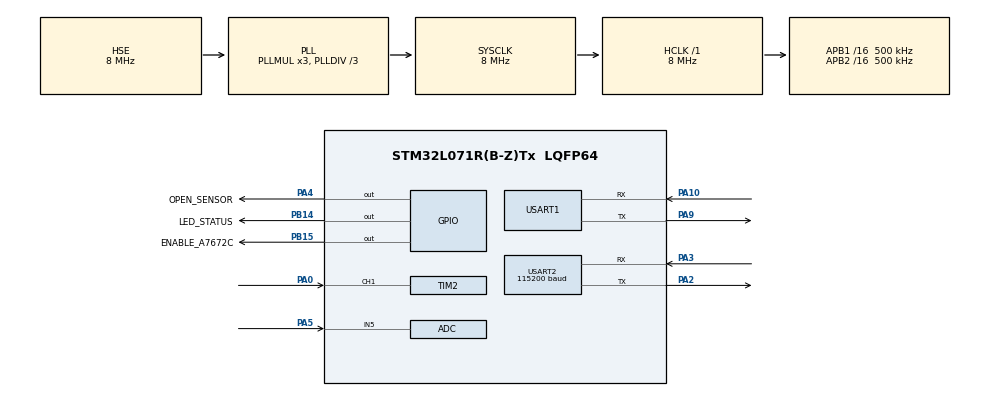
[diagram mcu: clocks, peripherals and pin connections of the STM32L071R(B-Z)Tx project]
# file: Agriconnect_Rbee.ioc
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ADC.LowPowerFrequencyMode=ENABLE
Mcu.Family=STM32L0
Mcu.Name=STM32L071R(B-Z)Tx
Mcu.Package=LQFP64
NVIC.TIM2_IRQn=true\:2\:0\:true\:false\:true\:true\:true\:true
NVIC.TIM6_IRQn=true\:3\:0\:true\:false\:true\:true\:true\:true
NVIC.USART1_IRQn=true\:0\:0\:true\:false\:true\:true\:true\:true
NVIC.USART2_IRQn=true\:2\:0\:true\:false\:true\:true\:true\:true
PA0.Signal=S_TIM2_CH1
PA10.Mode=Asynchronous
PA10.Signal=USART1_RX
PA13.Mode=Serial_Wire
PA13.Signal=SYS_SWDIO
PA14.Mode=Serial_Wire
PA14.Signal=SYS_SWCLK
PA2.Mode=Asynchronous
PA2.Signal=USART2_TX
PA3.Mode=Asynchronous
PA3.Signal=USART2_RX
PA4.GPIO_Label=OPEN_SENSOR
PA4.Signal=GPIO_Output
PA5.Mode=IN5
PA5.Signal=ADC_IN5
PA9.Mode=Asynchronous
PA9.Signal=USART1_TX
PB14.GPIO_Label=LED_STATUS
PB14.Signal=GPIO_Output
PB15.GPIO_Label=ENABLE_A7672C
PB15.GPIO_PuPd=GPIO_NOPULL
PB15.PinState=GPIO_PIN_SET
PB15.Signal=GPIO_Output
PH0-OSC_IN.Mode=HSE-External-Oscillator
PH0-OSC_IN.Signal=RCC_OSC_IN
PH1-OSC_OUT.Mode=HSE-External-Oscillator
PH1-OSC_OUT.Signal=RCC_OSC_OUT
ProjectManager.HeapSize=0x200
ProjectManager.StackSize=0x400
ProjectManager.TargetToolchain=STM32CubeIDE
RCC.ADCFreq_Value=16000000
RCC.AHBFreq_Value=8000000
RCC.APB1CLKDivider=RCC_HCLK_DIV16
RCC.APB1Freq_Value=500000
RCC.APB1TimFreq_Value=1000000
RCC.APB2CLKDivider=RCC_HCLK_DIV16
RCC.APB2Freq_Value=500000
RCC.APB2TimFreq_Value=1000000
RCC.HCLKFreq_Value=8000000
RCC.HSE_VALUE=8000000
RCC.HSI16_VALUE=16000000
RCC.HSI_VALUE=16000000
RCC.LSE_VALUE=32768
RCC.MSI_VALUE=2097000
RCC.PLLDIV=RCC_PLLDIV_3
RCC.PLLSourceVirtual=RCC_PLLSOURCE_HSE
RCC.SYSCLKFreq_VALUE=8000000
RCC.SYSCLKSource=RCC_SYSCLKSOURCE_PLLCLK
RCC.Usart1ClockSelection=RCC_USART1CLKSOURCE_SYSCLK
RCC.Usart2ClockSelection=RCC_USART2CLKSOURCE_HSI
RCC.VCOOutputFreq_Value=24000000
SH.S_TIM2_CH1.0=TIM2_CH1,PWM_Input_1
TIM6.Period=39999
TIM6.Prescaler=59999
USART1.VirtualMode-Asynchronous=VM_ASYNC
USART2.BaudRate=115200
USART2.VirtualMode-Asynchronous=VM_ASYNC
VP_TIM6_VS_ClockSourceINT.Mode=Enable_Timer
board=custom

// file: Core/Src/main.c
/* USER CODE BEGIN Header */
/**
 ******************************************************************************
 * @file           : main.c
 * @brief          : Main program body
 ******************************************************************************
 * @attention
 *
 * Copyright (c) 2023 STMicroelectronics.
 * All rights reserved.
 *
 * This software is licensed under terms that can be found in the LICENSE file
 * in the root directory of this software component.
 * If no LICENSE file comes with this software, it is provided AS-IS.
 *
 ******************************************************************************
 */
/* USER CODE END Header */
#include "main.h"

/* USER CODE BEGIN Includes */
#include "stm32l0xx_hal.h"
#include "config.h"
#include "string.h"
#include "stdbool.h"
#include "stdio.h"
#include "stdlib.h"
#include <math.h>

/* USER CODE END Includes */

ADC_HandleTypeDef hadc;

TIM_HandleTypeDef htim2;
TIM_HandleTypeDef htim6;

UART_HandleTypeDef huart1;
UART_HandleTypeDef huart2;

/* USER CODE BEGIN PV */
char AT_RESET[] = "AT+CRESET\r\n";
char AT_CHECK_A76XX[] = "AT\r\n";
char ATE0[] = "ATE0\r\n";
char AT_CHECK_ESIM[] = "AT+CGREG?\r\n";
char AT_SIGNAL_SIM[] = "AT+CSQ\r\n";
char AT_START_MQTT[] = "AT+CMQTTSTART\r\n";
char AT_ACQUIRE_CLIENT[] = "AT+CMQTTACCQ=0,\"%s\",0\r\n";
//char AT_CONNECT_MQTT[]="AT+CMQTTCONNECT=0,\"%s:%d\",60,1,\"%s\",\"%s\"\r\n";
char AT_CONNECT_MQTT[] = "AT+CMQTTCONNECT=0,\"%s:%d\",60,1,\"%s\",\"%s\"\r\n";

char AT_SET_PUBLISH_TOPIC[] = "AT+CMQTTTOPIC=0,%d\r\n";
char AT_SET_PUBLISH_PAYLOAD[] = "AT+CMQTTPAYLOAD=0,%d\r\n";
char AT_PUBLISH[] = "AT+CMQTTPUB=0,1,60\r\n";
char AT_SUBCRIBE_TOPIC[] = "%s%d\r\n";
char AT_SUBCRIBE[] = "AT+CMQTTSUB=0\r\n";
char AT_COMMAND[200];
char AT_DISCONNECT[] = "AT+CMQTTDISC=0,120";
char BUFFER_TOPPIC_MQTT[200];
char BUFFER_DATA_PAYLOAD_MQTT[100];
//char TOPPIC_PAYLOAD_MQTT[]="{\"WaterLevel\":%.1f}\r\n";
char TOPPIC_PAYLOAD_MQTT[] =
		"{\"WaterLevel\":%.1f,\"_battery_level\":%.1f,\"_gsm_signal_strength\":%d}\r\n";
//char TOPPIC_PAYLOAD_MQTT[]="{\"WaterLevel\":%.1f,\"Battery\":%.1f,\"RSSI\":%.1f}\r\n";
char water[50] = "-123";

int previousTick = 0;
int timeOutConnectA76XX = 40000;
int timeOutConnectMQTT = 40000;
int isATOK = 0;
int isPBDONE = 0;
int payLoadPin, payLoadStatus;

int rxDataCouter = 0;
int numberLoads = 10;
char simcomRxBuffer[100];
int payloadIndex;

uint8_t cnt_1 = 0;
uint8_t rxData;
uint16_t rxIndex;
uint8_t loadflag = 0;
char rxBuffer[50];

uint8_t isConnectSimcomA76xx = 0;
uint8_t isConnectMQTT = 0;
uint8_t sendPayloadStatusToServer;
uint8_t isSleepMode = 0;

//User code sensor distance
uint32_t ICValue = 0;
uint32_t Frequency = 0;
float Duty = 0;
float Distance_water = 0;
uint8_t cnt_start_sleep = 0;
// Flash
float SaveDataWater = 0;
float isDistance = 0;
int intDataWater = 0;
int floatDataWater = 0;
int Negative = 0;
float absChange = 0;
int big_change;

// Query signal quality
float SignalStrength = 0;
// BatteryLevel
uint32_t adcValue = 0;
float BatteryLevel = 0;
float PercentageBattery = 0;
uint32_t arrayBattery[50];
uint32_t temp;
uint8_t times = 10;
//int time_Period=0;
int Filter_Baterry_Values();
int MediumBattery();

uint32_t ADC_VAL;
float Vin = 0;
uint8_t test1 = 0;
uint8_t A7677S_DONE = 0;
uint8_t A7670C_DONE = 0;
// VL53L1
char rx_VL53L1[8];
int distance;
unsigned char data_vl53l1[3] = { 0xA5, 0x15, 0xBA };
unsigned char save_mode[3] = { 0xA5, 0x25, 0xCA };
uint32_t medium_distance[30];
uint32_t temp_distance;
float water_level;
int test123=0;

#if wt53r_ttl
//unsigned char data_w53r_ttl[8] = { 0x50, 0x06, 0x00, 0x03, 0x00, 0x03, 0x34, 0x4A};
unsigned char save_mode_1hz[8] = { 0x50, 0x06, 0x00, 0x03, 0x00, 0x03, 0x34, 0x4A};
unsigned char save_mode_0_2hz[8] = { 0x50, 0x06, 0x00, 0x03, 0x00, 0x06, 0xF4, 0x49};
char rx_wt53r_ttl[80];
char data_w53r_ttl[5];
#endif
int rssi = -99;
void RunningSendData();

/* USER CODE END PV */

void SystemClock_Config(void);
static void MX_GPIO_Init(void);
static void MX_TIM6_Init(void);
static void MX_USART1_UART_Init(void);
static void MX_ADC_Init(void);
static void MX_TIM2_Init(void);
static void MX_USART2_UART_Init(void);
/* USER CODE BEGIN PFP */
void turnOnA76XX(void);	//reset module sim A76XX
void sendingToSimcomA76xx(char *cmd);
void Filter_Value(void);
int connectMQTT();
int Sleep_Stm32_A7672S();

/* USER CODE END PFP */

/* USER CODE BEGIN 0 */
void Flash_Erase(uint32_t address) {
	HAL_FLASH_Unlock();
	FLASH_EraseInitTypeDef EraseInitStruct;
	EraseInitStruct.TypeErase = 1;
	EraseInitStruct.NbPages = 1;
	EraseInitStruct.PageAddress = address;
	EraseInitStruct.TypeErase = FLASH_TYPEERASE_PAGES;
	uint32_t pagerr;
	HAL_FLASHEx_Erase(&EraseInitStruct, &pagerr);
	HAL_FLASH_Lock();
}
void Flash_Write_Init(uint32_t address, int value) {
	HAL_FLASH_Unlock();
	HAL_FLASH_Program(FLASH_TYPEPROGRAMDATA_WORD, address, value);
	HAL_FLASH_Lock();
}
int Flash_Read_Init(uint32_t address) {
	return *(__IO uint16_t*) (address);
}

void HAL_TIM_PeriodElapsedCallback(TIM_HandleTypeDef *htim) {
	if (htim->Instance == htim6.Instance) {
		// cnt_1++;
	}
}

void HAL_TIM_IC_CaptureCallback(TIM_HandleTypeDef *htim) {
	if (htim->Channel == HAL_TIM_ACTIVE_CHANNEL_1) // Chon ngat tai channel 1 | cubeMX (PWM input on CH1)
			{
		// Read the IC value
		ICValue = HAL_TIM_ReadCapturedValue(&htim2, TIM_CHANNEL_1); // Do chu ky PWM tu TIM1

		if (ICValue != 0) {
			// calculate the Duty Cycle
			Duty = (float) (HAL_TIM_ReadCapturedValue(&htim2, TIM_CHANNEL_2)
					* 100) / ICValue; // Do do rong xung muc cao
#if tube_length==110
			if (tube_length == 110) {
				Distance_water = 70 - ((Duty * 50) / 10);
			}
#endif
#if tube_length==90
			if (tube_length == 90) {
				Distance_water = 50 - ((Duty * 50) / 10);
			}
#endif
#if tube_length==70
			if (tube_length == 70) {
				Distance_water = 30 - ((Duty * 50) / 10);
			}
#endif
//			else
//			Distance_water=((Duty*50)/10); //don vi CM
			//Frequency = (TIMCLOCK / PRESCALER) / ICValue;
		}
	}
}

int connectSimcomA76xx() {
	//HAL_TIM_Base_Stop_IT(&htim6);
	previousTick = HAL_GetTick();

	while (isConnectSimcomA76xx == 0
			&& (previousTick + timeOutConnectA76XX) > HAL_GetTick()) {
		if (strstr((char*) rxBuffer, "PB DONE")) {
			isPBDONE = 1;
		}
//		if(strstr((char *)rxBuffer,"PDN ACT 1")){
//			A7677S_DONE = 1;
//			isPBDONE=1;
//			HAL_Delay(7000);
//		}
		if (isPBDONE == 1) {
			sendingToSimcomA76xx(ATE0);
			HAL_Delay(200);
			sendingToSimcomA76xx(AT_SIGNAL_SIM);
			HAL_Delay(200);
			SignalStrength = (rxBuffer[8] - 48) * 10 + (rxBuffer[9] - 48);
			if(SignalStrength>=31)
			{
				rssi=-51;
			}else rssi = (SignalStrength * 2 - 113);
			isConnectSimcomA76xx = 1;
			HAL_Delay(1000);
			return isConnectSimcomA76xx;
		}
	}
	if (isConnectSimcomA76xx == 0) {
		NVIC_SystemReset();
	}

	return isConnectSimcomA76xx;
}

//void HAL_UART_RxCpltCallback(UART_HandleTypeDef *huart)
//{
//	if(huart -> Instance == USART1)
//	{
//		if((rxData!='\r')&&(rxData!='\n')){
//			simcomRxBuffer[rxIndex++]=rxData;
//			rxDataCouter++;
//		}
//		else{
//			rxDataCouter=0;
//			rxIndex=0;
//
//		}
//	}
//	HAL_UART_Receive_IT(&huart1, &rxData,1);
//}

void HAL_UARTEx_RxEventCallback(UART_HandleTypeDef *huart, uint16_t Size) {
	if (huart->Instance == USART1) {
		if (strstr((char*) rxBuffer, "ERROR")) {
			NVIC_SystemReset();
		}
		if (strstr((char*) rxBuffer, "unknown")) {
			NVIC_SystemReset();
		}
		HAL_UARTEx_ReceiveToIdle_IT(huart, (uint8_t*) rxBuffer, 50);
	}
	if (huart->Instance == USART2) {
#if vl53l1
		Distance_water = (rx_VL53L1[4] << 8 | rx_VL53L1[5]);
		HAL_UARTEx_ReceiveToIdle_IT(&huart2, (uint8_t*) rx_VL53L1, 8);
#endif
#if wt53r_ttl
		//Distance_water= (char)rx_wt53r_ttl[36];

		sprintf(data_w53r_ttl,"%c%c%c%c",rx_wt53r_ttl[34],rx_wt53r_ttl[35],rx_wt53r_ttl[36],rx_wt53r_ttl[37]);
		Distance_water=atoi(data_w53r_ttl);
		HAL_UARTEx_ReceiveToIdle_IT(&huart2, (uint8_t*) rx_wt53r_ttl, 80);
#endif
	}

}

void sendingToSimcomA76xx(char *cmd) {
	HAL_UART_Transmit(&huart1, (uint8_t*) cmd, strlen(cmd), 1000);
}
void read_vl53l1(uint8_t *data) {
	HAL_UART_Transmit(&huart2, data_vl53l1, 9, 1000);
}
void writte_mode_return_rate(uint8_t *data) {
	HAL_UART_Transmit(&huart2, save_mode_0_2hz, 9, 1000);
}

/* USER CODE END 0 */

int main(void)
{

  /* MCU Configuration--------------------------------------------------------*/

  /* Reset of all peripherals, Initializes the Flash interface and the Systick. */
  HAL_Init();

  /* Configure the system clock */
  SystemClock_Config();

  /* Initialize all configured peripherals */
  MX_GPIO_Init();
  MX_TIM6_Init();
  MX_USART1_UART_Init();
  MX_ADC_Init();
  MX_TIM2_Init();
  MX_USART2_UART_Init();
  /* USER CODE BEGIN 2 */
	// HAL_TIM_Base_Start_IT(&htim6);
	HAL_GPIO_WritePin(LED_STATUS_GPIO_Port, LED_STATUS_Pin, GPIO_PIN_SET);

	//sendingToSimcomA76xx(AT_RESET);

//  HAL_UART_Receive_IT(&huart1, &rxData,1);
	HAL_UARTEx_ReceiveToIdle_IT(&huart1, (uint8_t*) rxBuffer, 50);
#if vl53l1
	HAL_UARTEx_ReceiveToIdle_IT(&huart2, (uint8_t*) rx_VL53L1, 8);
#endif
#if wt53r_ttl
	HAL_UARTEx_ReceiveToIdle_IT(&huart2, (uint8_t*) rx_wt53r_ttl, 80);
#endif

	intDataWater = Flash_Read_Init(DATA_INT_WATER);
	floatDataWater = Flash_Read_Init(DATA_FLOAT_WATER);
	Negative = Flash_Read_Init(DATA_NEGATIVE_WATER);
	if (Negative == 2) {
		SaveDataWater = ((float) (intDataWater + (float) floatDataWater * 0.1))
				* -1;
	} else {
		SaveDataWater = (float) (intDataWater + (float) floatDataWater * 0.1);
	}
	turnOnA76XX();
	writte_mode_return_rate(save_mode_0_2hz);

  /* USER CODE END 2 */

  /* Infinite loop */
	while (1) {

    /* USER CODE BEGIN 3 */
		//HAL_GPIO_WritePin(OPEN_SENSOR_GPIO_Port, OPEN_SENSOR_Pin, GPIO_PIN_SET);
		if (!isConnectSimcomA76xx) {
			isConnectSimcomA76xx = connectSimcomA76xx();
		}
		if (!isConnectMQTT) {
			isConnectMQTT = connectMQTT();
		}
		if (!isSleepMode) {
			isSleepMode = Sleep_Stm32_A7672S();
		}
	}
  /* USER CODE END 3 */
}

void SystemClock_Config(void)
{
  RCC_OscInitTypeDef RCC_OscInitStruct = {0};
  RCC_ClkInitTypeDef RCC_ClkInitStruct = {0};
  RCC_PeriphCLKInitTypeDef PeriphClkInit = {0};

  /** Configure the main internal regulator output voltage
  */
  __HAL_PWR_VOLTAGESCALING_CONFIG(PWR_REGULATOR_VOLTAGE_SCALE1);

  /** Initializes the RCC Oscillators according to the specified parameters
  * in the RCC_OscInitTypeDef structure.
  */
  RCC_OscInitStruct.OscillatorType = RCC_OSCILLATORTYPE_HSI|RCC_OSCILLATORTYPE_HSE;
  RCC_OscInitStruct.HSEState = RCC_HSE_ON;
  RCC_OscInitStruct.HSIState = RCC_HSI_ON;
  RCC_OscInitStruct.HSICalibrationValue = RCC_HSICALIBRATION_DEFAULT;
  RCC_OscInitStruct.PLL.PLLState = RCC_PLL_ON;
  RCC_OscInitStruct.PLL.PLLSource = RCC_PLLSOURCE_HSE;
  RCC_OscInitStruct.PLL.PLLMUL = RCC_PLLMUL_3;
  RCC_OscInitStruct.PLL.PLLDIV = RCC_PLLDIV_3;
  if (HAL_RCC_OscConfig(&RCC_OscInitStruct) != HAL_OK)
  {
    Error_Handler();
  }

  /** Initializes the CPU, AHB and APB buses clocks
  */
  RCC_ClkInitStruct.ClockType = RCC_CLOCKTYPE_HCLK|RCC_CLOCKTYPE_SYSCLK
                              |RCC_CLOCKTYPE_PCLK1|RCC_CLOCKTYPE_PCLK2;
  RCC_ClkInitStruct.SYSCLKSource = RCC_SYSCLKSOURCE_PLLCLK;
  RCC_ClkInitStruct.AHBCLKDivider = RCC_SYSCLK_DIV1;
  RCC_ClkInitStruct.APB1CLKDivider = RCC_HCLK_DIV16;
  RCC_ClkInitStruct.APB2CLKDivider = RCC_HCLK_DIV16;

  if (HAL_RCC_ClockConfig(&RCC_ClkInitStruct, FLASH_LATENCY_0) != HAL_OK)
  {
    Error_Handler();
  }
  PeriphClkInit.PeriphClockSelection = RCC_PERIPHCLK_USART1|RCC_PERIPHCLK_USART2;
  PeriphClkInit.Usart1ClockSelection = RCC_USART1CLKSOURCE_SYSCLK;
  PeriphClkInit.Usart2ClockSelection = RCC_USART2CLKSOURCE_HSI;
  if (HAL_RCCEx_PeriphCLKConfig(&PeriphClkInit) != HAL_OK)
  {
    Error_Handler();
  }
}

static void MX_ADC_Init(void)
{

  ADC_ChannelConfTypeDef sConfig = {0};

  /** Configure the global features of the ADC (Clock, Resolution, Data Alignment and number of conversion)
  */
  hadc.Instance = ADC1;
  hadc.Init.OversamplingMode = DISABLE;
  hadc.Init.ClockPrescaler = ADC_CLOCK_SYNC_PCLK_DIV1;
  hadc.Init.Resolution = ADC_RESOLUTION_12B;
  hadc.Init.SamplingTime = ADC_SAMPLETIME_1CYCLE_5;
  hadc.Init.ScanConvMode = ADC_SCAN_DIRECTION_FORWARD;
  hadc.Init.DataAlign = ADC_DATAALIGN_RIGHT;
  hadc.Init.ContinuousConvMode = DISABLE;
  hadc.Init.DiscontinuousConvMode = DISABLE;
  hadc.Init.ExternalTrigConvEdge = ADC_EXTERNALTRIGCONVEDGE_NONE;
  hadc.Init.ExternalTrigConv = ADC_SOFTWARE_START;
  hadc.Init.DMAContinuousRequests = DISABLE;
  hadc.Init.EOCSelection = ADC_EOC_SINGLE_CONV;
  hadc.Init.Overrun = ADC_OVR_DATA_PRESERVED;
  hadc.Init.LowPowerAutoWait = DISABLE;
  hadc.Init.LowPowerFrequencyMode = ENABLE;
  hadc.Init.LowPowerAutoPowerOff = DISABLE;
  if (HAL_ADC_Init(&hadc) != HAL_OK)
  {
    Error_Handler();
  }

  /** Configure for the selected ADC regular channel to be converted.
  */
  sConfig.Channel = ADC_CHANNEL_5;
  sConfig.Rank = ADC_RANK_CHANNEL_NUMBER;
  if (HAL_ADC_ConfigChannel(&hadc, &sConfig) != HAL_OK)
  {
    Error_Handler();
  }

}

static void MX_TIM2_Init(void)
{

  TIM_SlaveConfigTypeDef sSlaveConfig = {0};
  TIM_IC_InitTypeDef sConfigIC = {0};
  TIM_MasterConfigTypeDef sMasterConfig = {0};

  htim2.Instance = TIM2;
  htim2.Init.Prescaler = 0;
  htim2.Init.CounterMode = TIM_COUNTERMODE_UP;
  htim2.Init.Period = 65535;
  htim2.Init.ClockDivision = TIM_CLOCKDIVISION_DIV1;
  htim2.Init.AutoReloadPreload = TIM_AUTORELOAD_PRELOAD_DISABLE;
  if (HAL_TIM_IC_Init(&htim2) != HAL_OK)
  {
    Error_Handler();
  }
  sSlaveConfig.SlaveMode = TIM_SLAVEMODE_RESET;
  sSlaveConfig.InputTrigger = TIM_TS_TI1FP1;
  sSlaveConfig.TriggerPolarity = TIM_INPUTCHANNELPOLARITY_RISING;
  sSlaveConfig.TriggerPrescaler = TIM_ICPSC_DIV1;
  sSlaveConfig.TriggerFilter = 0;
  if (HAL_TIM_SlaveConfigSynchro(&htim2, &sSlaveConfig) != HAL_OK)
  {
    Error_Handler();
  }
  sConfigIC.ICPolarity = TIM_INPUTCHANNELPOLARITY_RISING;
  sConfigIC.ICSelection = TIM_ICSELECTION_DIRECTTI;
  sConfigIC.ICPrescaler = TIM_ICPSC_DIV1;
  sConfigIC.ICFilter = 0;
  if (HAL_TIM_IC_ConfigChannel(&htim2, &sConfigIC, TIM_CHANNEL_1) != HAL_OK)
  {
    Error_Handler();
  }
  sConfigIC.ICPolarity = TIM_INPUTCHANNELPOLARITY_FALLING;
  sConfigIC.ICSelection = TIM_ICSELECTION_INDIRECTTI;
  if (HAL_TIM_IC_ConfigChannel(&htim2, &sConfigIC, TIM_CHANNEL_2) != HAL_OK)
  {
    Error_Handler();
  }
  sMasterConfig.MasterOutputTrigger = TIM_TRGO_RESET;
  sMasterConfig.MasterSlaveMode = TIM_MASTERSLAVEMODE_DISABLE;
  if (HAL_TIMEx_MasterConfigSynchronization(&htim2, &sMasterConfig) != HAL_OK)
  {
    Error_Handler();
  }

}

static void MX_TIM6_Init(void)
{

  TIM_MasterConfigTypeDef sMasterConfig = {0};

  htim6.Instance = TIM6;
  htim6.Init.Prescaler = 59999;
  htim6.Init.CounterMode = TIM_COUNTERMODE_UP;
  htim6.Init.Period = time_Period;
  htim6.Init.AutoReloadPreload = TIM_AUTORELOAD_PRELOAD_DISABLE;
  if (HAL_TIM_Base_Init(&htim6) != HAL_OK)
  {
    Error_Handler();
  }
  sMasterConfig.MasterOutputTrigger = TIM_TRGO_RESET;
  sMasterConfig.MasterSlaveMode = TIM_MASTERSLAVEMODE_DISABLE;
  if (HAL_TIMEx_MasterConfigSynchronization(&htim6, &sMasterConfig) != HAL_OK)
  {
    Error_Handler();
  }

}

static void MX_USART1_UART_Init(void)
{

  huart1.Instance = USART1;
  huart1.Init.BaudRate = 115200;
  huart1.Init.WordLength = UART_WORDLENGTH_8B;
  huart1.Init.StopBits = UART_STOPBITS_1;
  huart1.Init.Parity = UART_PARITY_NONE;
  huart1.Init.Mode = UART_MODE_TX_RX;
  huart1.Init.HwFlowCtl = UART_HWCONTROL_NONE;
  huart1.Init.OverSampling = UART_OVERSAMPLING_16;
  huart1.Init.OneBitSampling = UART_ONE_BIT_SAMPLE_DISABLE;
  huart1.AdvancedInit.AdvFeatureInit = UART_ADVFEATURE_NO_INIT;
  if (HAL_UART_Init(&huart1) != HAL_OK)
  {
    Error_Handler();
  }

}

static void MX_USART2_UART_Init(void)
{

  huart2.Instance = USART2;
  huart2.Init.BaudRate = 115200;
  huart2.Init.WordLength = UART_WORDLENGTH_8B;
  huart2.Init.StopBits = UART_STOPBITS_1;
  huart2.Init.Parity = UART_PARITY_NONE;
  huart2.Init.Mode = UART_MODE_TX_RX;
  huart2.Init.HwFlowCtl = UART_HWCONTROL_NONE;
  huart2.Init.OverSampling = UART_OVERSAMPLING_16;
  huart2.Init.OneBitSampling = UART_ONE_BIT_SAMPLE_DISABLE;
  huart2.AdvancedInit.AdvFeatureInit = UART_ADVFEATURE_NO_INIT;
  if (HAL_UART_Init(&huart2) != HAL_OK)
  {
    Error_Handler();
  }

}

static void MX_GPIO_Init(void)
{
  GPIO_InitTypeDef GPIO_InitStruct = {0};

  /* GPIO Ports Clock Enable */
  __HAL_RCC_GPIOH_CLK_ENABLE();
  __HAL_RCC_GPIOA_CLK_ENABLE();
  __HAL_RCC_GPIOB_CLK_ENABLE();

  /*Configure GPIO pin Output Level */
  HAL_GPIO_WritePin(OPEN_SENSOR_GPIO_Port, OPEN_SENSOR_Pin, GPIO_PIN_RESET);

  /*Configure GPIO pin Output Level */
  HAL_GPIO_WritePin(LED_STATUS_GPIO_Port, LED_STATUS_Pin, GPIO_PIN_RESET);

  /*Configure GPIO pin Output Level */
  HAL_GPIO_WritePin(ENABLE_A7672C_GPIO_Port, ENABLE_A7672C_Pin, GPIO_PIN_SET);

  /*Configure GPIO pin : OPEN_SENSOR_Pin */
  GPIO_InitStruct.Pin = OPEN_SENSOR_Pin;
  GPIO_InitStruct.Mode = GPIO_MODE_OUTPUT_PP;
  GPIO_InitStruct.Pull = GPIO_NOPULL;
  GPIO_InitStruct.Speed = GPIO_SPEED_FREQ_LOW;
  HAL_GPIO_Init(OPEN_SENSOR_GPIO_Port, &GPIO_InitStruct);

  /*Configure GPIO pins : LED_STATUS_Pin ENABLE_A7672C_Pin */
  GPIO_InitStruct.Pin = LED_STATUS_Pin|ENABLE_A7672C_Pin;
  GPIO_InitStruct.Mode = GPIO_MODE_OUTPUT_PP;
  GPIO_InitStruct.Pull = GPIO_NOPULL;
  GPIO_InitStruct.Speed = GPIO_SPEED_FREQ_LOW;
  HAL_GPIO_Init(GPIOB, &GPIO_InitStruct);

}

/* USER CODE BEGIN 4 */
int Filter_Baterry_Values() {
	for (int i = 0; i < times; i++) {
		HAL_ADC_Start(&hadc);
		HAL_ADC_PollForConversion(&hadc, 1000);
		HAL_Delay(100);
		arrayBattery[i] = HAL_ADC_GetValue(&hadc);
	}
	adcValue = MediumBattery();
	// vol max 2.1 vol min 1.25
	BatteryLevel = ((float) (adcValue / 4095.00) * 3.3);
	PercentageBattery = ((BatteryLevel / 2.1) * 100);
	if (PercentageBattery > 100) {
		PercentageBattery = 100;
	}
	HAL_ADC_Stop(&hadc);

	return PercentageBattery;
}
int MediumBattery() {
	for (int i = 0; i < times - 1; i++) {
		for (int j = i + 1; j < times; j++) {
			if (arrayBattery[i] > arrayBattery[j]) {

				temp = arrayBattery[i];

				arrayBattery[i] = arrayBattery[j];

				arrayBattery[j] = temp;

			}
		}
	}
	return arrayBattery[times / 2];
}

void turnOnA76XX() {
	HAL_GPIO_WritePin(ENABLE_A7672C_GPIO_Port, ENABLE_A7672C_Pin,
			GPIO_PIN_RESET);
	HAL_Delay(3000);
	HAL_GPIO_WritePin(ENABLE_A7672C_GPIO_Port, ENABLE_A7672C_Pin, GPIO_PIN_SET);
	HAL_Delay(4000);
	HAL_GPIO_WritePin(ENABLE_A7672C_GPIO_Port, ENABLE_A7672C_Pin,
			GPIO_PIN_RESET);
	HAL_Delay(300);
	HAL_GPIO_WritePin(ENABLE_A7672C_GPIO_Port, ENABLE_A7672C_Pin, GPIO_PIN_SET);
	HAL_Delay(3000);
	//Start sensor
	HAL_GPIO_WritePin(OPEN_SENSOR_GPIO_Port, OPEN_SENSOR_Pin, GPIO_PIN_SET);
}
int get_data_sensor(int times)
{
	for (int i = 0; i < times; i++) {
		//read_vl53l1(data_vl53l1);
		HAL_Delay(200);
		medium_distance[i] = Distance_water;
	}
	for (int i = 0; i < times - 1; i++) {
		for (int j = i + 1; j < times; j++) {
			if (medium_distance[i] > medium_distance[j]) {

				temp_distance = medium_distance[i];

				medium_distance[i] = medium_distance[j];

				medium_distance[j] = temp_distance;
			}
		}
	}
	return medium_distance[times/2];
}
int abnormal_sensor_data(int difference)
{
	absChange = fabs(water_level - SaveDataWater);
	if (absChange > difference)
		return 1;
	 else
		return 0;
	//The difference is in cm
}
int connectMQTT(void) {

#if wt53r_ttl
	//test123=get_data_sensor(30);
	water_level = (48.5-(get_data_sensor(30) * 0.1));
#endif
	big_change=abnormal_sensor_data(3);
	if(big_change)
	{
		get_data_sensor(30);
		water_level = (48.5-(get_data_sensor(30) * 0.1));
	}
	Filter_Value();
	HAL_GPIO_WritePin(OPEN_SENSOR_GPIO_Port, OPEN_SENSOR_Pin, GPIO_PIN_RESET);
	sendingToSimcomA76xx(ATE0);
	HAL_Delay(200);
	sendingToSimcomA76xx(AT_START_MQTT);
	HAL_Delay(200);
	sprintf(AT_COMMAND, AT_ACQUIRE_CLIENT, MQTT_CLIENT_ID);
	sendingToSimcomA76xx(AT_COMMAND);
	HAL_Delay(500);
	sprintf(AT_COMMAND, AT_CONNECT_MQTT, MQTT_HOST, MQTT_PORT, MQTT_USER,
	MQTT_PASS);
	sendingToSimcomA76xx(AT_COMMAND);
	HAL_Delay(1000);
	sprintf(BUFFER_TOPPIC_MQTT, "%s/sn/%s", FARM, MQTT_CLIENT_ID);
	sprintf(AT_COMMAND, AT_SET_PUBLISH_TOPIC, (int) strlen(BUFFER_TOPPIC_MQTT));
	sendingToSimcomA76xx(AT_COMMAND);
	HAL_Delay(500);
	sendingToSimcomA76xx(BUFFER_TOPPIC_MQTT);
	HAL_Delay(500);
	Filter_Baterry_Values();
	sprintf(BUFFER_DATA_PAYLOAD_MQTT, TOPPIC_PAYLOAD_MQTT, water_level,
			PercentageBattery, rssi);
//	sprintf(BUFFER_DATA_PAYLOAD_MQTT,TOPPIC_PAYLOAD_MQTT,Distance_water);
	HAL_Delay(500);
	sprintf(AT_COMMAND, AT_SET_PUBLISH_PAYLOAD,
			(int) strlen(BUFFER_DATA_PAYLOAD_MQTT));
	sendingToSimcomA76xx(AT_COMMAND);
	HAL_Delay(500);
	sendingToSimcomA76xx(BUFFER_DATA_PAYLOAD_MQTT);
	HAL_Delay(500);
	sendingToSimcomA76xx(AT_PUBLISH);
	HAL_Delay(500);
	isConnectMQTT = 1;
	return 1;
}
int Sleep_Stm32_A7672S() {
	//Sleep Simcom A7672S

	HAL_GPIO_WritePin(ENABLE_A7672C_GPIO_Port, ENABLE_A7672C_Pin,
			GPIO_PIN_RESET);
	HAL_Delay(4000);
	//sendingToSimcomA76xx("AT+CPOF");
	HAL_GPIO_WritePin(ENABLE_A7672C_GPIO_Port, ENABLE_A7672C_Pin, GPIO_PIN_SET);
	HAL_Delay(6000);
	HAL_GPIO_WritePin(GPIOB, LED_STATUS_Pin, GPIO_PIN_RESET);
	HAL_GPIO_WritePin(OPEN_SENSOR_GPIO_Port, OPEN_SENSOR_Pin, GPIO_PIN_RESET);
	HAL_TIM_Base_Start_IT(&htim6);
	//CLose sensor
	//HAL_GPIO_WritePin(GPIOB, LED_STATUS_Pin,GPIO_PIN_RESET);
	HAL_SuspendTick();
	HAL_PWR_EnterSLEEPMode(PWR_MAINREGULATOR_ON, PWR_SLEEPENTRY_WFE);
	HAL_ResumeTick();
	NVIC_SystemReset();
	isSleepMode = 1;

	return isSleepMode;
}
void Filter_Value(void) {

	absChange = fabs(water_level - SaveDataWater);
	if (water_level > 0 && absChange > 0.5) {
		Negative = 1;
		isDistance = water_level;
		Flash_Erase(DATA_NEGATIVE_WATER);
		Flash_Write_Init(DATA_NEGATIVE_WATER, (uint32_t) Negative);

		intDataWater = (int) isDistance;
		floatDataWater = ((int) (isDistance * 10) % 10);

		Flash_Erase(DATA_INT_WATER);
		Flash_Write_Init(DATA_INT_WATER, (uint32_t) intDataWater);

		Flash_Erase(DATA_FLOAT_WATER);
		Flash_Write_Init(DATA_FLOAT_WATER, (uint32_t) floatDataWater);
	}
	if (water_level < 0 && absChange > 0.5) {

		Negative = 2;
		isDistance = water_level * -1;
		Flash_Erase(DATA_NEGATIVE_WATER);
		Flash_Write_Init(DATA_NEGATIVE_WATER, (uint32_t) Negative);

		intDataWater = (int) isDistance;
		floatDataWater = ((int) (isDistance * 10) % 10);

		Flash_Erase(DATA_INT_WATER);
		Flash_Write_Init(DATA_INT_WATER, (uint32_t) intDataWater);

		Flash_Erase(DATA_FLOAT_WATER);
		Flash_Write_Init(DATA_FLOAT_WATER, (uint32_t) floatDataWater);
	}
	if (absChange < 0.5) {
		water_level = SaveDataWater;
	}

}

/* USER CODE END 4 */

void Error_Handler(void)
{
	__disable_irq();
	while (1) {
	}
}
